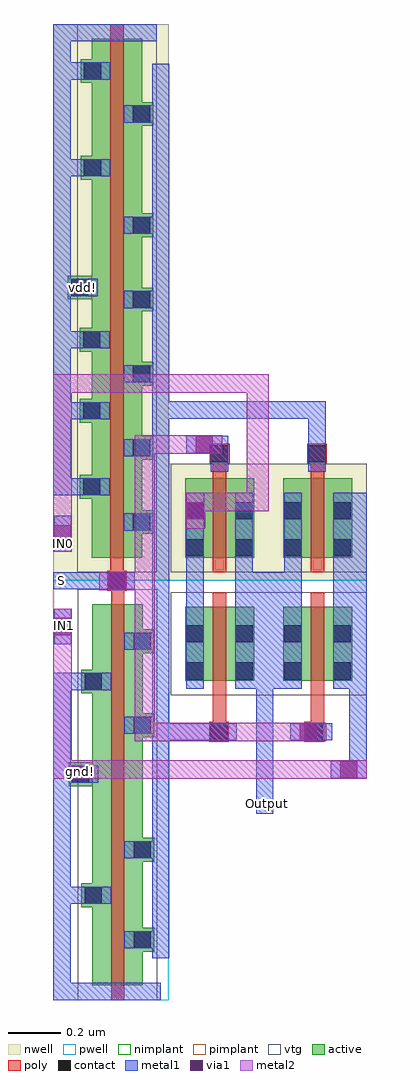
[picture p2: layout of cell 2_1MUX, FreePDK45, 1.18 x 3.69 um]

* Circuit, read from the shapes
.subckt 2_1MUX IN0 IN1 Output S gnd! vdd!
M1 Inverter_0/Out S gnd! gnd! nfet w=1.44u l=0.05u
M2 Output Inverter_0/Out IN0 gnd! nfet w=0.28u l=0.05u
M3 IN1 S Output gnd! nfet w=0.28u l=0.05u
M4 Inverter_0/Out S vdd! vdd! pfet w=1.96u l=0.05u
M5 Output S IN0 vdd! pfet w=0.3u l=0.05u
M6 IN1 Inverter_0/Out Output vdd! pfet w=0.3u l=0.05u
.ends

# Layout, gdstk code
from math import pi, radians
import gdstk
lib = gdstk.Library(unit=1e-6, precision=5e-10)
def R(c, l, rs):  # rectangles x0, y0, x1, y1
    for r in rs: c.add(gdstk.rectangle(r[:2], r[2:], *l))
def A(c, l, x, y, w, h, nx, ny, dx, dy):  # array of equal rectangles
    R(c, l, [(x+i*dx, y+j*dy, x+i*dx+w, y+j*dy+h) for i in range(nx) for j in range(ny)])
active = (1, 0)
pwell = (2, 0)
nwell = (3, 0)
nimplant = (4, 0)
pimplant = (5, 0)
vtg = (6, 0)
poly = (9, 0)
contact = (10, 0)
metal1 = (11, 0)
via1 = (12, 0)
metal2 = (13, 0)

nmos_vtg_2 = lib.new_cell('nmos_vtg_2')
R(nmos_vtg_2, active, [(-0.07,0,0.12,1.44), (-0.07,0,0,1.44), (0.05,0,0.12,1.44)])
R(nmos_vtg_2, pwell, [(-0.125,-0.055,0.175,1.495)])
R(nmos_vtg_2, nimplant, [(-0.07,0,0.12,1.44)])
R(nmos_vtg_2, vtg, [(-0.125,-0.055,0.175,1.495)])
R(nmos_vtg_2, poly, [(0,-0.055,0.05,0), (0,-0.055,0.05,1.495), (0,1.44,0.05,1.495)])
nmos_vtg_2.add(gdstk.Label('l = 0.05', (0.06,0.72), layer=230, texttype=0))
nmos_vtg_2.add(gdstk.Label('w = 1.44', (0.025,1.505), layer=230, texttype=0))

pmos_vtg_3 = lib.new_cell('pmos_vtg_3')
R(pmos_vtg_3, active, [(-0.07,0,0.12,1.96), (-0.07,0,0,1.96), (0.05,0,0.12,1.96)])
R(pmos_vtg_3, nwell, [(-0.125,-0.055,0.175,2.015)])
R(pmos_vtg_3, pimplant, [(-0.07,0,0.12,1.96)])
R(pmos_vtg_3, vtg, [(-0.125,-0.055,0.175,2.015)])
R(pmos_vtg_3, poly, [(0,-0.055,0.05,0), (0,-0.055,0.05,2.015), (0,1.96,0.05,2.015)])
pmos_vtg_3.add(gdstk.Label('l = 0.05', (0.06,0.98), layer=230, texttype=0))
pmos_vtg_3.add(gdstk.Label('w = 1.96', (0.025,2.025), layer=230, texttype=0))

m1_poly_2 = lib.new_cell('M1_POLY_2')
R(m1_poly_2, poly, [(-0.0375,-0.0375,0.0375,0.0375)])
R(m1_poly_2, contact, [(-0.0325,-0.0325,0.0325,0.0325)])
R(m1_poly_2, metal1, [(-0.0325,-0.0675,0.0325,0.0675)])

m1_p_3 = lib.new_cell('M1_P_3')
R(m1_p_3, active, [(-0.045,-0.045,0.045,0.045)])
R(m1_p_3, pimplant, [(-0.045,-0.045,0.045,0.045)])
R(m1_p_3, contact, [(-0.0325,-0.0325,0.0325,0.0325)])
R(m1_p_3, metal1, [(-0.0325,-0.0675,0.0325,0.0675)])

m1_n_4 = lib.new_cell('M1_N_4')
R(m1_n_4, active, [(-0.045,-0.045,0.045,0.045)])
R(m1_n_4, nimplant, [(-0.045,-0.045,0.045,0.045)])
R(m1_n_4, contact, [(-0.0325,-0.0325,0.0325,0.0325)])
R(m1_n_4, metal1, [(-0.0325,-0.0675,0.0325,0.0675)])

ntap_5 = lib.new_cell('NTAP_5')
R(ntap_5, active, [(-0.045,-0.045,0.045,0.045)])
R(ntap_5, nwell, [(-0.1,-0.1,0.1,0.1)])
R(ntap_5, nimplant, [(-0.045,-0.045,0.045,0.045)])
R(ntap_5, contact, [(-0.0325,-0.0325,0.0325,0.0325)])
R(ntap_5, metal1, [(-0.0325,-0.0675,0.0325,0.0675)])

ptap_6 = lib.new_cell('PTAP_6')
R(ptap_6, active, [(-0.045,-0.045,0.045,0.045)])
R(ptap_6, pwell, [(-0.1,-0.1,0.1,0.1)])
R(ptap_6, pimplant, [(-0.045,-0.045,0.045,0.045)])
R(ptap_6, contact, [(-0.0325,-0.0325,0.0325,0.0325)])
R(ptap_6, metal1, [(-0.0325,-0.0675,0.0325,0.0675)])

inverter = lib.new_cell('Inverter')
R(inverter, pwell, [(0.805,0,0.8975,0.6575), (1.195,0,1.24,1.55), (0.805,0.6575,0.8975,1.585), (0.895,1.55,1.24,1.585)])
R(inverter, nwell, [(0.805,1.585,1.005,2.59), (0.895,1.585,1.24,1.615), (1.195,1.615,1.24,3.685), (0.805,2.79,0.895,3.685)])
R(inverter, metal1, [(0.87,3.475,0.885,3.54)])
inverter.add(gdstk.FlexPath([(0.805,2.4925),(1.01,2.4925)], 0.065, ends="flush", simple_path=True, layer=11, datatype=0))  # metal1
inverter.add(gdstk.FlexPath([(0.805,1.2025),(1.02,1.2025)], 0.065, ends="flush", simple_path=True, layer=11, datatype=0))  # metal1
inverter.add(gdstk.FlexPath([(0.8375,0.0325),(1.21,0.0325)], 0.065, ends="flush", simple_path=True, layer=11, datatype=0))  # metal1
inverter.add(gdstk.FlexPath([(0.8875,0.395),(0.805,0.395)], 0.065, ends="flush", simple_path=True, layer=11, datatype=0))  # metal1
inverter.add(gdstk.FlexPath([(0.8375,1.235),(0.8375,0)], 0.065, ends="flush", simple_path=True, layer=11, datatype=0))  # metal1
inverter.add(gdstk.FlexPath([(1.195,3.6525),(0.8325,3.6525)], 0.065, ends="flush", simple_path=True, layer=11, datatype=0))  # metal1
inverter.add(gdstk.FlexPath([(0.885,3.1425),(0.805,3.1425)], 0.065, ends="flush", simple_path=True, layer=11, datatype=0))  # metal1
inverter.add(gdstk.FlexPath([(0.8375,3.685),(0.8375,2.6575)], 0.065, ends="flush", simple_path=True, layer=11, datatype=0))  # metal1
inverter.add(gdstk.FlexPath([(1.21,3.535),(1.21,0.1575)], 0.065, ends="flush", simple_path=True, layer=11, datatype=0))  # metal1
inverter.add(gdstk.FlexPath([(0.8375,2.6575),(0.8375,1.905)], 0.065, ends="flush", simple_path=True, layer=11, datatype=0))  # metal1
inverter.add(gdstk.FlexPath([(0.805,2.225),(0.9775,2.225)], 0.065, ends="flush", simple_path=True, layer=11, datatype=0))  # metal1
inverter.add(gdstk.FlexPath([(0.805,1.9375),(0.985,1.9375)], 0.065, ends="flush", simple_path=True, layer=11, datatype=0))  # metal1
inverter.add(gdstk.Reference(nmos_vtg_2, (1.0225,0.055)))
inverter.add(gdstk.Reference(pmos_vtg_3, (1.02,1.67)))
inverter.add(gdstk.Reference(m1_poly_2, (1.045,1.5825), rotation=pi/2))
inverter.add(gdstk.Reference(m1_p_3, (0.9525,3.5075), rotation=pi/2))
inverter.add(gdstk.Reference(m1_p_3, (1.1375,3.345), rotation=pi/2))
inverter.add(gdstk.Reference(m1_p_3, (0.95,1.9375), rotation=pi/2))
inverter.add(gdstk.Reference(m1_p_3, (1.1375,2.925), rotation=pi/2))
inverter.add(gdstk.Reference(m1_p_3, (1.1375,2.645), rotation=pi/2))
inverter.add(gdstk.Reference(m1_p_3, (1.1375,1.805), rotation=pi/2))
inverter.add(gdstk.Reference(m1_p_3, (0.95,2.4925), rotation=pi/2))
inverter.add(gdstk.Reference(m1_p_3, (1.1375,2.365), rotation=pi/2))
inverter.add(gdstk.Reference(m1_p_3, (1.1375,2.085), rotation=pi/2))
inverter.add(gdstk.Reference(m1_p_3, (0.95,2.225), rotation=pi/2))
inverter.add(gdstk.Reference(m1_p_3, (0.9525,3.1425), rotation=pi/2))
inverter.add(gdstk.Reference(m1_n_4, (1.14,0.2275), rotation=pi/2))
inverter.add(gdstk.Reference(m1_n_4, (1.14,0.5675), rotation=pi/2))
inverter.add(gdstk.Reference(m1_n_4, (0.955,1.2025), rotation=pi/2))
inverter.add(gdstk.Reference(m1_n_4, (1.14,1.355), rotation=pi/2))
inverter.add(gdstk.Reference(m1_n_4, (0.955,0.395), rotation=pi/2))
inverter.add(gdstk.Reference(m1_n_4, (1.14,1.0375), rotation=pi/2))
inverter.add(gdstk.Reference(ntap_5, (0.905,2.69), rotation=pi/2))
inverter.add(gdstk.Reference(ptap_6, (0.9075,0.8525), rotation=pi/2))
inverter.add(gdstk.Label('Out', (1.2125,1.5875), layer=11, texttype=0))
inverter.add(gdstk.Label('gnd!', (0.91,0.8675), layer=11, texttype=0))
inverter.add(gdstk.Label('vdd!', (0.9125,2.6925), layer=11, texttype=0))
inverter.add(gdstk.Label('In', (1.045,1.5825), layer=11, texttype=0))

dcont_6 = lib.new_cell('dcont_6')
R(dcont_6, active, [(-0.0375,0.03,0.0375,0.245)])
R(dcont_6, contact, [(-0.0325,0.035,0.0325,0.1), (-0.0325,0.175,0.0325,0.24)])
R(dcont_6, metal1, [(-0.0325,0,0.0325,0.275)])

nmos_vtg_4 = lib.new_cell('nmos_vtg_4')
R(nmos_vtg_4, active, [(-0.105,0,0.155,0.28), (-0.105,0,-0.03,0.28), (-0.105,0,-0.03,0.28), (0.08,0,0.155,0.28), (0.08,0,0.155,0.28)])
R(nmos_vtg_4, pwell, [(-0.16,-0.055,0.21,0.335)])
R(nmos_vtg_4, nimplant, [(-0.105,0,0.155,0.28)])
R(nmos_vtg_4, vtg, [(-0.16,-0.055,0.21,0.335)])
R(nmos_vtg_4, poly, [(0,-0.055,0.05,0), (0,-0.055,0.05,0.335), (0,0.28,0.05,0.335)])
nmos_vtg_4.add(gdstk.Reference(dcont_6, (0.1175,-0.03)))
nmos_vtg_4.add(gdstk.Reference(dcont_6, (-0.0675,-0.03)))
nmos_vtg_4.add(gdstk.Label('l = 0.05', (0.06,0.14), layer=230, texttype=0))
nmos_vtg_4.add(gdstk.Label('w = 0.28', (0.025,0.345), layer=230, texttype=0))

pmos_vtg_5 = lib.new_cell('pmos_vtg_5')
R(pmos_vtg_5, active, [(-0.105,0,0.155,0.3), (-0.105,0,-0.03,0.3), (-0.105,0,-0.03,0.3), (0.08,0,0.155,0.3), (0.08,0,0.155,0.3)])
R(pmos_vtg_5, nwell, [(-0.16,-0.055,0.21,0.355)])
R(pmos_vtg_5, pimplant, [(-0.105,0,0.155,0.3)])
R(pmos_vtg_5, vtg, [(-0.16,-0.055,0.21,0.355)])
R(pmos_vtg_5, poly, [(0,-0.055,0.05,0), (0,-0.055,0.05,0.355), (0,0.3,0.05,0.355)])
pmos_vtg_5.add(gdstk.Reference(dcont_6, (0.1175,-0.03)))
pmos_vtg_5.add(gdstk.Reference(dcont_6, (-0.0675,-0.03)))
pmos_vtg_5.add(gdstk.Label('l = 0.05', (0.06,0.15), layer=230, texttype=0))
pmos_vtg_5.add(gdstk.Label('w = 0.30', (0.025,0.365), layer=230, texttype=0))

m2_m1_0 = lib.new_cell('M2_M1_0')
R(m2_m1_0, metal1, [(-0.0325,-0.0675,0.0325,0.0675)])
R(m2_m1_0, via1, [(-0.0325,-0.0325,0.0325,0.0325)])
R(m2_m1_0, metal2, [(-0.035,-0.0675,0.035,0.0675)])

c_2_1mux = lib.new_cell('2_1MUX')
R(c_2_1mux, pwell, [(0,1.16,0.0075,1.55), (-0.0325,1.54,0.7475,1.585)])
R(c_2_1mux, nwell, [(-0.0325,1.585,0.7475,1.615), (0,1.615,0.0075,2.025)])
R(c_2_1mux, poly, [(0.1675,1.05,0.2175,1.15), (0.5375,1.05,0.5875,1.15)])
A(c_2_1mux, metal1, 0.0675, 1.45, 0.065, 0.19, 3, 1, 0.185, 0)
R(c_2_1mux, metal1, [(0.33,0.7025,0.395,1.175), (0.6825,0.9025,0.7475,1.175), (0.0025,0.98,0.1225,1.045), (0.3175,1.175,0.4375,1.55), (0.6875,1.175,0.7475,1.915), (0.6225,1.4475,0.6875,1.64), (-0.435,1.55,-0.2625,1.615), (0.3175,1.55,0.4375,1.615), (0.5275,2.13,0.5925,2.195), (0.0025,2.195,0.5925,2.26)])
R(c_2_1mux, metal2, [(-0.435,0.835,0.6125,0.905), (-0.435,0.905,-0.365,1.4775), (-0.1275,0.9775,-0.0525,2.1325), (-0.0525,0.9775,0.0675,1.0475), (0.0675,0.9775,0.46,1.0475), (-0.435,1.6925,-0.365,2.2925), (0.1375,1.845,0.3775,1.915), (0.295,1.915,0.3775,2.3625), (-0.0525,2.0625,0.0675,2.1325), (-0.435,2.2925,0.295,2.3625)])
c_2_1mux.add(gdstk.Reference(inverter, (-1.24,0)))
c_2_1mux.add(gdstk.Reference(nmos_vtg_4, (0.5375,1.205)))
c_2_1mux.add(gdstk.Reference(nmos_vtg_4, (0.1675,1.205)))
c_2_1mux.add(gdstk.Reference(pmos_vtg_5, (0.5375,1.67)))
c_2_1mux.add(gdstk.Reference(pmos_vtg_5, (0.1675,1.67)))
c_2_1mux.add(gdstk.Reference(m2_m1_0, (-0.4,1.76)))
c_2_1mux.add(gdstk.Reference(m2_m1_0, (0.1025,1.8475)))
c_2_1mux.add(gdstk.Reference(m2_m1_0, (-0.4,1.41)))
c_2_1mux.add(gdstk.Reference(m2_m1_0, (0.68,0.87), rotation=pi/2))
c_2_1mux.add(gdstk.Reference(m2_m1_0, (0.5275,1.0125), rotation=pi/2))
c_2_1mux.add(gdstk.Reference(m2_m1_0, (0.135,2.0975), rotation=pi/2))
c_2_1mux.add(gdstk.Reference(m2_m1_0, (-0.195,1.5825), rotation=pi/2))
c_2_1mux.add(gdstk.Reference(m1_poly_2, (0.56,2.0625)))
c_2_1mux.add(gdstk.Reference(m1_poly_2, (0.55,1.0125), rotation=pi/2))
c_2_1mux.add(gdstk.Reference(m1_poly_2, (0.19,1.0125), rotation=pi/2))
c_2_1mux.add(gdstk.Reference(m1_poly_2, (0.1925,2.0625)))
c_2_1mux.add(gdstk.Label('Output', (0.375,0.7425), layer=11, texttype=0))
c_2_1mux.add(gdstk.Label('IN1', (-0.3925,1.415), layer=11, texttype=0))
c_2_1mux.add(gdstk.Label('IN0', (-0.395,1.7225), layer=11, texttype=0))
c_2_1mux.add(gdstk.Label('gnd!', (-0.3325,0.8625), layer=11, texttype=0))
c_2_1mux.add(gdstk.Label('vdd!', (-0.325,2.69), layer=11, texttype=0))
c_2_1mux.add(gdstk.Label('S', (-0.405,1.585), layer=11, texttype=0))

lib.write_gds('2_1MUX.gds')
